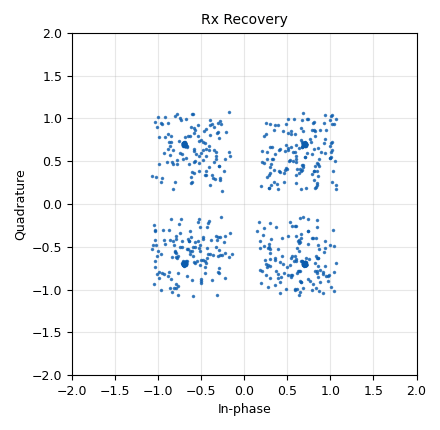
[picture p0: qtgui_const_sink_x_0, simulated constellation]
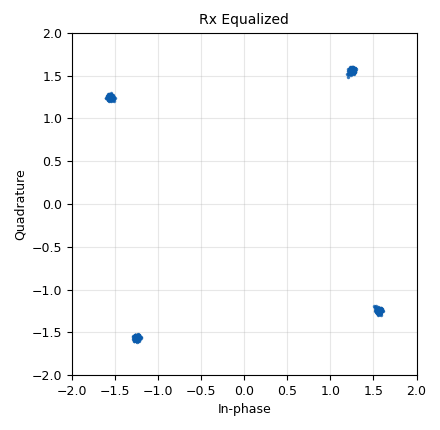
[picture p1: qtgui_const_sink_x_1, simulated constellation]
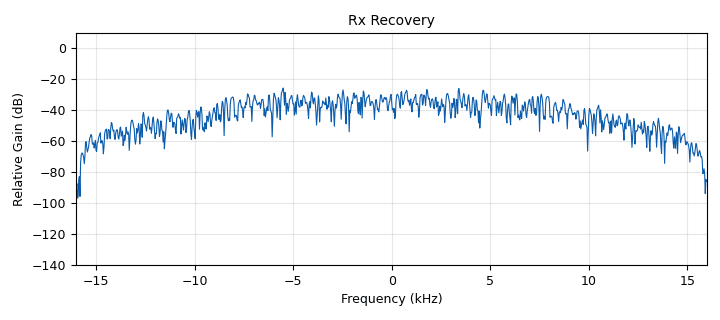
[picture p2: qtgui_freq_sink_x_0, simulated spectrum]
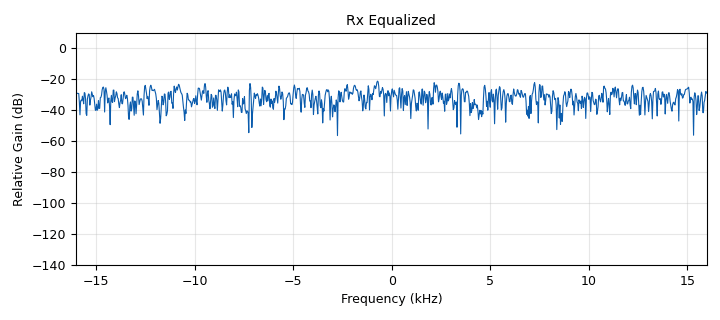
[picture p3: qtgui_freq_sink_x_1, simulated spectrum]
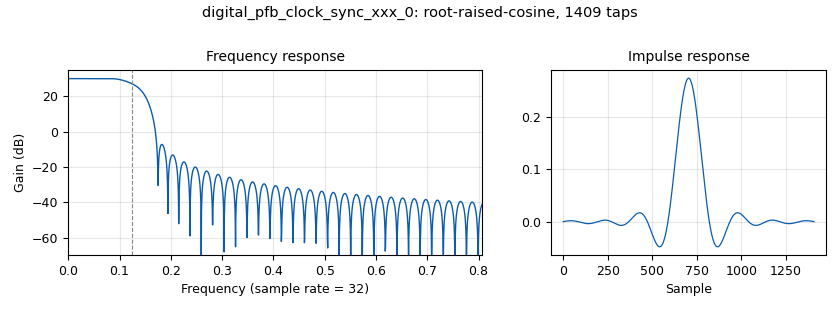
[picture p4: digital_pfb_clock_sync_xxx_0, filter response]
options:
  parameters:
    author: David Venegas
    generate_options: qt_gui
    id: Stage4_Equalizer
    output_language: python
    title: Equalizer
  states: {}

blocks:
- name: AWGN
  id: variable_qtgui_range
  parameters:
    label: 'Channel: Noise Voltage'
    orient: Qt.Horizontal
    start: '0'
    step: '0.01'
    stop: '1'
    value: '0.200'
  states: {}
- name: Eq_Gain
  id: variable_qtgui_range
  parameters:
    label: 'Eq: Rate'
    orient: Qt.Horizontal
    start: '0'
    step: '0.001'
    stop: '0.1'
    value: '0.01'
  states: {}
- name: Freq_Offset
  id: variable_qtgui_range
  parameters:
    label: 'Channel: Frequency Offset'
    orient: Qt.Horizontal
    start: '-0.1'
    step: '0.001'
    stop: '0.1'
    value: '0'
  states: {}
- name: QPSK
  id: variable_constellation_rect
  parameters:
    const_points: '[-0.707-0.707j, -0.707+0.707j, 0.707+0.707j, 0.707-0.707j]'
    imag_sect: '2'
    real_sect: '2'
    rot_sym: '4'
    sym_map: '[0, 1, 2, 3]'
    w_imag_sect: '1'
    w_real_sect: '1'
  states: {}
- name: Time_Offset
  id: variable_qtgui_range
  parameters:
    label: 'Channel: Timing Offset'
    orient: Qt.Horizontal
    start: '0.999'
    step: '0.0001'
    stop: '1.001'
    value: '1.0005'
  states: {}
- name: Timming_Loop_bw
  id: variable_qtgui_range
  parameters:
    label: 'Time: BW'
    orient: Qt.Horizontal
    start: '0'
    step: '0.01'
    stop: '0.2'
    value: '0.0628'
  states: {}
- name: excess_bw
  id: variable
  parameters:
    value: '0.35'
  states: {}
- name: nfilts
  id: variable
  parameters:
    value: '32'
  states: {}
- name: root_raise_cosine
  id: variable
  parameters:
    value: firdes.root_raised_cosine(nfilts, nfilts, 1.0/float(sps), 0.35, 11*sps*nfilts)
  states: {}
- name: samp_rate
  id: variable
  parameters:
    value: '32000'
  states: {}
- name: sps
  id: variable
  parameters:
    value: '4'
  states: {}
- name: Controls
  id: qtgui_tab_widget
  parameters:
    label0: Channel
    label1: Receiver
    num_tabs: '2'
  states: {}
- name: analog_random_source_x_0
  id: analog_random_source_x
  parameters:
    max: '255'
    min: '0'
    num_samps: '10000'
    repeat: 'True'
    type: byte
  states: {}
- name: blocks_throttle_0
  id: blocks_throttle
  parameters:
    samples_per_second: samp_rate
    type: complex
  states: {}
- name: channels_channel_model_0
  id: channels_channel_model
  parameters:
    epsilon: '1'
    freq_offset: '0'
    noise_voltage: '0.0001'
    seed: '0'
    taps: '1'
  states: {}
- name: digital_cma_equalizer_cc_0
  id: digital_cma_equalizer_cc
  parameters:
    modulus: '4'
    mu: Eq_Gain
    num_taps: '15'
    sps: '2'
  states: {}
- name: digital_constellation_modulator_0
  id: digital_constellation_modulator
  parameters:
    constellation: QPSK
    differential: 'True'
    excess_bw: '0.35'
    samples_per_symbol: '4'
  states: {}
- name: digital_pfb_clock_sync_xxx_0
  id: digital_pfb_clock_sync_xxx
  parameters:
    filter_size: '32'
    init_phase: '16'
    loop_bw: '0.0628'
    max_dev: '1.5'
    osps: '2'
    sps: '4.004'
    taps: root_raise_cosine
    type: ccf
  states: {}
- name: qtgui_const_sink_x_0
  id: qtgui_const_sink_x
  parameters:
    name: '"Rx Recovery"'
    size: '1024'
    type: complex
  states: {}
- name: qtgui_const_sink_x_1
  id: qtgui_const_sink_x
  parameters:
    name: '"Rx Equalized"'
    size: '1024'
    type: complex
  states: {}
- name: qtgui_freq_sink_x_0
  id: qtgui_freq_sink_x
  parameters:
    bw: samp_rate
    fc: '0'
    fftsize: '1024'
    name: '"Rx Recovery"'
    type: complex
    wintype: firdes.WIN_BLACKMAN_hARRIS
  states: {}
- name: qtgui_freq_sink_x_1
  id: qtgui_freq_sink_x
  parameters:
    bw: samp_rate
    fc: '0'
    fftsize: '1024'
    name: '"Rx Equalized"'
    type: complex
    wintype: firdes.WIN_BLACKMAN_hARRIS
  states: {}

connections:
- [analog_random_source_x_0, '0', digital_constellation_modulator_0, '0']
- [blocks_throttle_0, '0', channels_channel_model_0, '0']
- [channels_channel_model_0, '0', digital_pfb_clock_sync_xxx_0, '0']
- [digital_cma_equalizer_cc_0, '0', qtgui_const_sink_x_1, '0']
- [digital_cma_equalizer_cc_0, '0', qtgui_freq_sink_x_1, '0']
- [digital_constellation_modulator_0, '0', blocks_throttle_0, '0']
- [digital_pfb_clock_sync_xxx_0, '0', digital_cma_equalizer_cc_0, '0']
- [digital_pfb_clock_sync_xxx_0, '0', qtgui_const_sink_x_0, '0']
- [digital_pfb_clock_sync_xxx_0, '0', qtgui_freq_sink_x_0, '0']

metadata:
  file_format: 1
